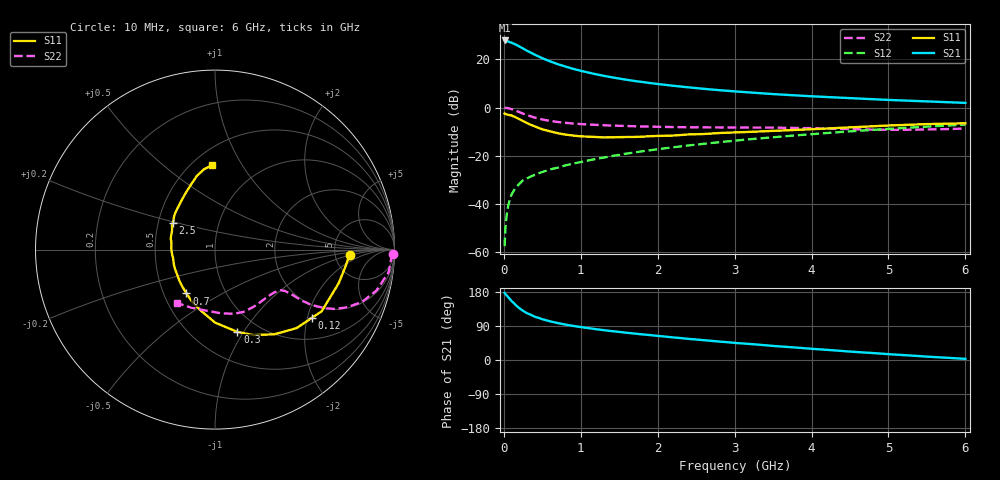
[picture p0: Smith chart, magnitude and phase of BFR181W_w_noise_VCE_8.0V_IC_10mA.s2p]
! Infineon Technologies  Discrete & RF Semiconductors
! BFR181W
! VCE =  8.0 V,  IC =  10 mA
! Common Emitter S-Parameters:  Jan 2017
# GHz  S  MA  R  50
!  f  S11  S21  S12  S22
! GHz  MAG  ANG  MAG  ANG  MAG  ANG  MAG  ANG
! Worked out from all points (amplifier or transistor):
!   77 points, 10 MHz to 6 GHz, reference 50 ohm
!   highest |S21| = 27.9 dB at 10 MHz (marker M1)
!   |S21| within 3 dB of that: start of sweep to 229.3 MHz
!   unconditionally stable (mu >= 1): 1.087 GHz to 2.899 GHz
!   at 130 MHz: K = 0.26, MSG = 30.6 dB, |S12| = -34.6 dB
!   at 2.2 GHz: K = 1.05, MAG = 11.5 dB, |S12| = -16.6 dB
!   at 6 GHz: K = 0.84, MSG = 4.5 dB, |S12| = -7.1 dB
!   lowest NFmin = 1.24 dB at 450 MHz
!   S11 on the Smith chart (normalised r, x): 10 MHz: 6.89, -0.87; 120 MHz: 1.58, -2.13; 300 MHz: 0.79, -0.94; 700 MHz: 0.65, -0.35; 2.5 GHz: 0.60, +0.19; 6 GHz: 0.62, +0.75
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0.01  0.7501 -2.1  24.9 177.3  0.0013 101.6  0.9934 -1.4
0.02  0.7331 -7.4  24.38 174.2  0.003 97.7  0.9834 -2.8
0.05  0.714 -15.2  23.88 167.3  0.0079 82.0  0.9756 -7.5
0.1  0.6866 -30.0  22.42 155.8  0.0153 77.5  0.9274 -14.3
0.12  0.6597 -35.3  21.64 152.0  0.0175 74.3  0.9031 -16.3
0.15  0.6309 -43.9  20.66 145.7  0.0209 70.7  0.8689 -19.6
0.2  0.5766 -54.9  18.69 136.8  0.0257 68.9  0.8049 -23.5
0.25  0.5221 -65.8  16.91 129.6  0.0306 65.6  0.7471 -26.3
0.3  0.475 -74.8  15.24 123.6  0.0334 64.0  0.6957 -28.0
0.4  0.4068 -89.9  12.62 114.4  0.0398 62.0  0.6188 -29.9
0.5  0.352 -102.2  10.63 107.6  0.0454 62.4  0.5643 -30.4
0.6  0.319 -113.2  9.161 102.1  0.0515 61.9  0.5277 -30.4
0.7  0.2917 -123.1  8.005 97.5  0.056 63.8  0.5003 -30.3
0.9  0.261 -140.5  6.396 90.0  0.0679 64.5  0.4649 -30.5
1.1  0.2476 -154.7  5.335 84.2  0.0793 66.2  0.4437 -31.0
1.5  0.2419 -177.2  4.007 74.1  0.1034 67.1  0.4161 -33.8
2.1  0.2583 159.6  2.961 61.7  0.142 66.4  0.3945 -41.4
2.5  0.278 148.0  2.54 54.1  0.169 65.1  0.3872 -48.1
3.1  0.3072 134.0  2.113 43.7  0.2114 62.2  0.3829 -58.4
4.1  0.3595 116.2  1.684 28.2  0.2867 55.8  0.3681 -76.0
5.1  0.428 102.6  1.419 14.2  0.3674 47.5  0.3432 -101.0
6  0.4699 92.3  1.249 3.0  0.4409 39.0  0.3656 -125.7
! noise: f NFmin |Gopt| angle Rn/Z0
0.45  1.24  0.15  16  0.21
0.9  1.29  0.14  31  0.21
1.9  1.71  0.03  142  0.2
2.4  1.88  0.02  -166  0.24
